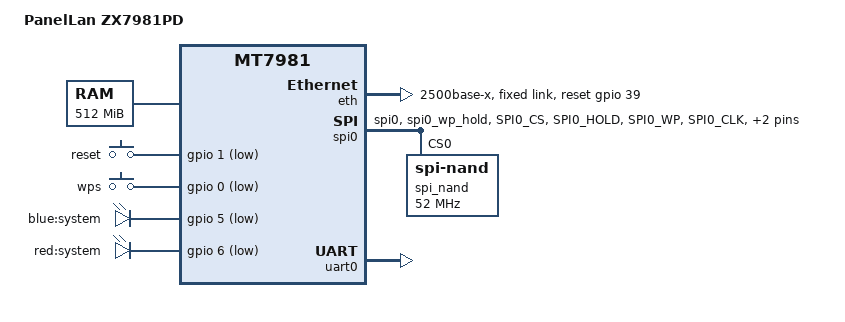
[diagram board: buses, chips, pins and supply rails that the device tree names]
// SPDX-License-Identifier: GPL-2.0-or-later

/dts-v1/;

#include "mt7981.dtsi"
#include <dt-bindings/gpio/gpio.h>
#include <dt-bindings/input/input.h>

/ {
	#address-cells = <1>;
	#size-cells = <1>;
	model = "PanelLan ZX7981PD";
	compatible = "panellan,zx7981pd", "panellan,zx7981pde", "mediatek,mt7981";

	chosen {
		stdout-path = &uart0;
		tick-timer = &timer0;
	};

	config {
		bootcmd = "mtkboardboot";
		sys_led = "red:system";
		failsafe_led = "blue:system";
	};

	memory@40000000 {
		device_type = "memory";
		reg = <0x40000000 0x20000000>;
	};

	mtd-layout {
		layout@0 {
			label = "Stock_Dual_Boot (Original PanelLan)";
			mtdids = "nmbm0=nmbm0";
			/* Exact match to the manufacturer's partition table */
			mtdparts = "nmbm0:1024k(bl2),512k(u-boot-env),2048k(Factory),2048k(FIP),640k(woem),57344k(ubi),57344k(ubi2),384k(wtinfo),384k(nvram)";
		};

		layout@1 {
			label = "Single_Boot (128MB)";
			mtdids = "nmbm0=nmbm0";
			mtdparts = "nmbm0:1024k(bl2),512k(u-boot-env),2048k(Factory),2048k(FIP),115328k(ubi),384k(wtinfo),384k(nvram)";
		};

		layout@2 {
			label = "Single_Boot (256/512MB)";
			mtdids = "nmbm0=nmbm0";
			mtdparts = "nmbm0:1024k(bl2),512k(u-boot-env),2048k(Factory),2048k(FIP),384k(wtinfo),384k(nvram),-(ubi)";
		};
	};

	gpio-keys {
		compatible = "gpio-keys";

		reset {
			label = "reset";
			gpios = <&gpio 1 GPIO_ACTIVE_LOW>;
			linux,code = <KEY_RESTART>;
		};

		wps {
			label = "wps";
			gpios = <&gpio 0 GPIO_ACTIVE_LOW>;
			linux,code = <KEY_WPS_BUTTON>;
		};
	};

	gpio-leds {
		compatible = "gpio-leds";

		led-0 {
			label = "blue:system";
			gpios = <&gpio 5 GPIO_ACTIVE_LOW>;
			default-state = "off";
		};

		led-1 {
			label = "red:system";
			gpios = <&gpio 6 GPIO_ACTIVE_LOW>;
			default-state = "on";
		};
	};
	
	bl2_verify {
		bl2_compatible = "spim-nand";
	};
};

&eth {
	status = "okay";
	mediatek,gmac-id = <0>;
	phy-mode = "2500base-x";
	mediatek,switch = "mt7531";
	reset-gpios = <&gpio 39 GPIO_ACTIVE_HIGH>;

	/* Forces the MT7531 switch into dumb mode for U-Boot Recovery */
	fixed-link {
		speed = <2500>;
		full-duplex;
		pause;
	};
};

&pinctrl {
	spi_flash_pins: spi0-pins-func-1 {
		mux {
			function = "flash";
			groups = "spi0", "spi0_wp_hold";
		};

		conf-pu {
			pins = "SPI0_CS", "SPI0_HOLD", "SPI0_WP";
			drive-strength = <MTK_DRIVE_8mA>;
			bias-pull-up = <MTK_PUPD_SET_R1R0_11>;
		};

		conf-pd {
			pins = "SPI0_CLK", "SPI0_MOSI", "SPI0_MISO";
			drive-strength = <MTK_DRIVE_8mA>;
			bias-pull-down = <MTK_PUPD_SET_R1R0_11>;
		};
	};
};

&spi0 {
	pinctrl-names = "default";
	pinctrl-0 = <&spi_flash_pins>;
	status = "okay";
	must_tx;
	enhance_timing;
	dma_ext;
	ipm_design;
	support_quad;
	tick_dly = <2>;
	sample_sel = <0>;

	spi_nand@0 {
		#address-cells = <1>;
		#size-cells = <1>;
		compatible = "spi-nand";
		reg = <0>;
		spi-max-frequency = <52000000>;
		spi-tx-bus-width = <4>;
		spi-rx-bus-width = <4>;
	};
};

&uart0 {
	status = "okay";
};

&watchdog {
	status = "disabled";
};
